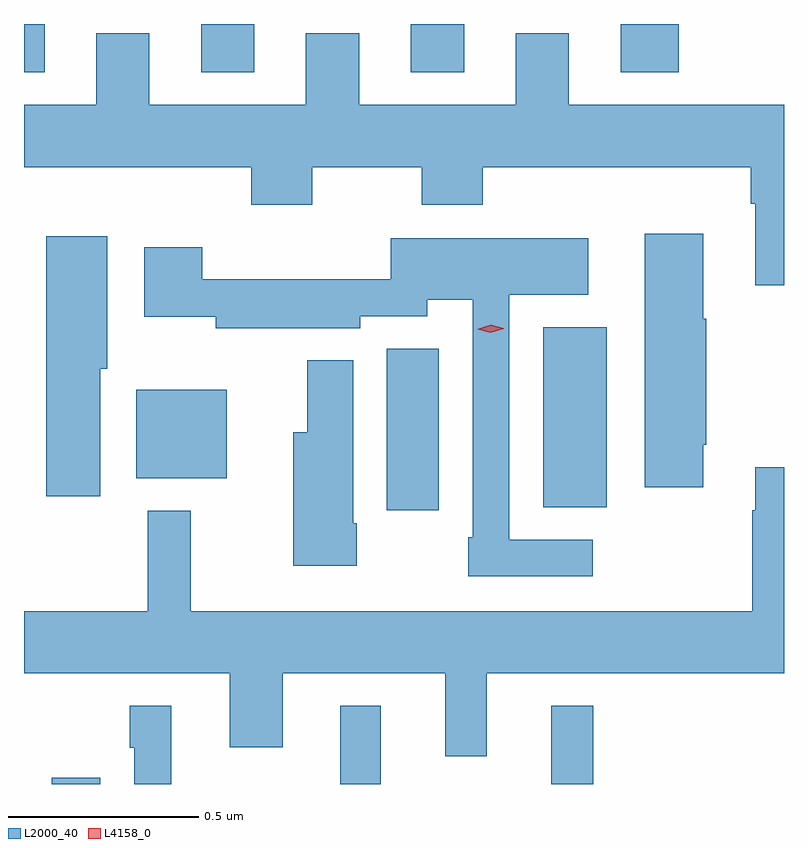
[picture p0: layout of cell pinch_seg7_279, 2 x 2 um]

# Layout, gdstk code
import gdstk
lib = gdstk.Library(unit=1e-6, precision=1e-09)
def R(c, l, rs):  # rectangles x0, y0, x1, y1
    for r in rs: c.add(gdstk.rectangle(r[:2], r[2:], *l))
def P(c, l, *ps):  # polygons
    for p in ps: c.add(gdstk.Polygon(p, *l))
L2000_40 = (2000, 40)
L4158_0 = (4158, 0)

pinch_seg7_279 = lib.new_cell('pinch_seg7_279')
R(pinch_seg7_279, L2000_40, [(796.946,1038.953,797.074,1038.97), (797.705,1038.953,797.812,1039.159), (798.26,1038.953,798.371,1039.159), (797.828,1039.674,797.965,1040.099), (798.239,1039.681,798.406,1040.155), (797.168,1039.757,797.407,1039.99), (796.873,1040.826,796.927,1040.953), (797.339,1040.826,797.479,1040.953), (797.891,1040.826,798.031,1040.953), (798.443,1040.826,798.596,1040.953)])
P(pinch_seg7_279, L2000_40, [(798.873,1040.74),(798.307,1040.74),(798.307,1040.929),(798.167,1040.929),(798.167,1040.74),(797.755,1040.74),(797.755,1040.929),(797.615,1040.929),(797.615,1040.74),(797.203,1040.74),(797.203,1040.929),(797.063,1040.929),(797.063,1040.74),(796.873,1040.74),(796.873,1040.576),(797.471,1040.576),(797.471,1040.477),(797.631,1040.477),(797.631,1040.576),(797.92,1040.576),(797.92,1040.477),(798.08,1040.477),(798.08,1040.576),(798.785,1040.576),(798.785,1040.48),(798.797,1040.48),(798.797,1040.265),(798.873,1040.265)],
  [(798.661,1039.846),(798.669,1039.846),(798.669,1040.177),(798.661,1040.177),(798.661,1040.401),(798.506,1040.401),(798.506,1039.734),(798.661,1039.734)],
  [(797.074,1040.046),(797.092,1040.046),(797.092,1040.395),(796.931,1040.395),(796.931,1039.71),(797.074,1039.71)],
  [(798.37,1039.596),(798.15,1039.596),(798.15,1040.24),(798.358,1040.24),(798.358,1040.389),(797.838,1040.389),(797.838,1040.281),(797.342,1040.281),(797.342,1040.365),(797.189,1040.365),(797.189,1040.183),(797.378,1040.183),(797.378,1040.153),(797.758,1040.153),(797.758,1040.184),(797.934,1040.184),(797.934,1040.228),(798.054,1040.228),(798.054,1039.603),(798.042,1039.603),(798.042,1039.5),(798.37,1039.5)],
  [(797.748,1039.639),(797.74,1039.639),(797.74,1040.068),(797.618,1040.068),(797.618,1039.879),(797.582,1039.879),(797.582,1039.527),(797.748,1039.527)],
  [(798.091,1039.244),(798.873,1039.244),(798.873,1039.786),(798.797,1039.786),(798.797,1039.673),(798.79,1039.673),(798.79,1039.408),(797.312,1039.408),(797.312,1039.672),(797.199,1039.672),(797.199,1039.408),(796.873,1039.408),(796.873,1039.244),(797.414,1039.244),(797.414,1039.05),(797.554,1039.05),(797.554,1039.244),(797.981,1039.244),(797.981,1039.026),(798.091,1039.026)],
  [(797.26,1039.159),(797.151,1039.159),(797.151,1039.049),(797.163,1039.049),(797.163,1038.953),(797.26,1038.953)])
P(pinch_seg7_279, L4158_0, [(798.101,1040.141),(798.066,1040.15),(798.066,1040.15),(798.066,1040.15),(798.101,1040.161),(798.136,1040.152),(798.136,1040.151),(798.136,1040.151)])

lib.write_gds('pinch_seg7_279.gds')
